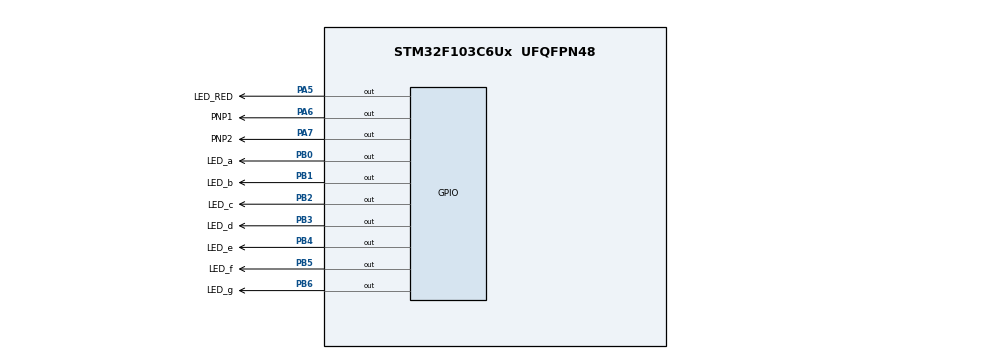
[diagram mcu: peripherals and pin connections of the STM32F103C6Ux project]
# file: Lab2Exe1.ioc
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Mcu.Family=STM32F1
Mcu.Name=STM32F103C6Ux
Mcu.Package=UFQFPN48
NVIC.PriorityGroup=NVIC_PRIORITYGROUP_4
NVIC.TIM2_IRQn=true\:0\:0\:false\:false\:true\:true\:true
PA5.GPIO_Label=LED_RED
PA5.Signal=GPIO_Output
PA6.GPIO_Label=PNP1
PA6.Signal=GPIO_Output
PA7.GPIO_Label=PNP2
PA7.Signal=GPIO_Output
PB0.GPIO_Label=LED_a
PB0.Signal=GPIO_Output
PB1.GPIO_Label=LED_b
PB1.Signal=GPIO_Output
PB2.GPIO_Label=LED_c
PB2.Signal=GPIO_Output
PB3.GPIO_Label=LED_d
PB3.Signal=GPIO_Output
PB4.GPIO_Label=LED_e
PB4.Signal=GPIO_Output
PB5.GPIO_Label=LED_f
PB5.Signal=GPIO_Output
PB6.GPIO_Label=LED_g
PB6.Signal=GPIO_Output
ProjectManager.HeapSize=0x200
ProjectManager.StackSize=0x400
ProjectManager.TargetToolchain=STM32CubeIDE
RCC.APB1Freq_Value=8000000
RCC.APB2Freq_Value=8000000
TIM2.Period=9
TIM2.Prescaler=7999
VP_SYS_VS_ND.Mode=No_Debug
VP_TIM2_VS_ClockSourceINT.Mode=Internal
board=custom

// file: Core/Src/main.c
/* USER CODE BEGIN Header */
/**
  ******************************************************************************
  * @file           : main.c
  * @brief          : Main program body
  ******************************************************************************
  * @attention
  *
  * <h2><center>&copy; Copyright (c) 2022 STMicroelectronics.
  * All rights reserved.</center></h2>
  *
  * This software component is licensed by ST under BSD 3-Clause license,
  * the "License"; You may not use this file except in compliance with the
  * License. You may obtain a copy of the License at:
  *                        opensource.org/licenses/BSD-3-Clause
  *
  ******************************************************************************
  */
/* USER CODE END Header */
#include "main.h"

TIM_HandleTypeDef htim2;

void SystemClock_Config(void);
static void MX_GPIO_Init(void);
static void MX_TIM2_Init(void);

int main(void)
{

  /* MCU Configuration--------------------------------------------------------*/

  /* Reset of all peripherals, Initializes the Flash interface and the Systick. */
  HAL_Init();

  /* Configure the system clock */
  SystemClock_Config();

  /* Initialize all configured peripherals */
  MX_GPIO_Init();
  MX_TIM2_Init();
  /* USER CODE BEGIN 2 */
  HAL_TIM_Base_Start_IT(&htim2);
  /* USER CODE END 2 */

  /* Infinite loop */
  while (1)
  {

  }
}

void SystemClock_Config(void)
{
  RCC_OscInitTypeDef RCC_OscInitStruct = {0};
  RCC_ClkInitTypeDef RCC_ClkInitStruct = {0};

  /** Initializes the RCC Oscillators according to the specified parameters
  * in the RCC_OscInitTypeDef structure.
  */
  RCC_OscInitStruct.OscillatorType = RCC_OSCILLATORTYPE_HSI;
  RCC_OscInitStruct.HSIState = RCC_HSI_ON;
  RCC_OscInitStruct.HSICalibrationValue = RCC_HSICALIBRATION_DEFAULT;
  RCC_OscInitStruct.PLL.PLLState = RCC_PLL_NONE;
  if (HAL_RCC_OscConfig(&RCC_OscInitStruct) != HAL_OK)
  {
    Error_Handler();
  }
  /** Initializes the CPU, AHB and APB buses clocks
  */
  RCC_ClkInitStruct.ClockType = RCC_CLOCKTYPE_HCLK|RCC_CLOCKTYPE_SYSCLK
                              |RCC_CLOCKTYPE_PCLK1|RCC_CLOCKTYPE_PCLK2;
  RCC_ClkInitStruct.SYSCLKSource = RCC_SYSCLKSOURCE_HSI;
  RCC_ClkInitStruct.AHBCLKDivider = RCC_SYSCLK_DIV1;
  RCC_ClkInitStruct.APB1CLKDivider = RCC_HCLK_DIV1;
  RCC_ClkInitStruct.APB2CLKDivider = RCC_HCLK_DIV1;

  if (HAL_RCC_ClockConfig(&RCC_ClkInitStruct, FLASH_LATENCY_0) != HAL_OK)
  {
    Error_Handler();
  }
}

static void MX_TIM2_Init(void)
{

  TIM_ClockConfigTypeDef sClockSourceConfig = {0};
  TIM_MasterConfigTypeDef sMasterConfig = {0};

  htim2.Instance = TIM2;
  htim2.Init.Prescaler = 7999;
  htim2.Init.CounterMode = TIM_COUNTERMODE_UP;
  htim2.Init.Period = 9;
  htim2.Init.ClockDivision = TIM_CLOCKDIVISION_DIV1;
  htim2.Init.AutoReloadPreload = TIM_AUTORELOAD_PRELOAD_DISABLE;
  if (HAL_TIM_Base_Init(&htim2) != HAL_OK)
  {
    Error_Handler();
  }
  sClockSourceConfig.ClockSource = TIM_CLOCKSOURCE_INTERNAL;
  if (HAL_TIM_ConfigClockSource(&htim2, &sClockSourceConfig) != HAL_OK)
  {
    Error_Handler();
  }
  sMasterConfig.MasterOutputTrigger = TIM_TRGO_RESET;
  sMasterConfig.MasterSlaveMode = TIM_MASTERSLAVEMODE_DISABLE;
  if (HAL_TIMEx_MasterConfigSynchronization(&htim2, &sMasterConfig) != HAL_OK)
  {
    Error_Handler();
  }

}

static void MX_GPIO_Init(void)
{
  GPIO_InitTypeDef GPIO_InitStruct = {0};

  /* GPIO Ports Clock Enable */
  __HAL_RCC_GPIOA_CLK_ENABLE();
  __HAL_RCC_GPIOB_CLK_ENABLE();

  /*Configure GPIO pin Output Level */
  HAL_GPIO_WritePin(GPIOA, LED_RED_Pin|PNP1_Pin|PNP2_Pin, GPIO_PIN_RESET);

  /*Configure GPIO pin Output Level */
  HAL_GPIO_WritePin(GPIOB, LED_a_Pin|LED_b_Pin|LED_c_Pin|LED_d_Pin
                          |LED_e_Pin|LED_f_Pin|LED_g_Pin, GPIO_PIN_RESET);

  /*Configure GPIO pins : LED_RED_Pin PNP1_Pin PNP2_Pin */
  GPIO_InitStruct.Pin = LED_RED_Pin|PNP1_Pin|PNP2_Pin;
  GPIO_InitStruct.Mode = GPIO_MODE_OUTPUT_PP;
  GPIO_InitStruct.Pull = GPIO_NOPULL;
  GPIO_InitStruct.Speed = GPIO_SPEED_FREQ_LOW;
  HAL_GPIO_Init(GPIOA, &GPIO_InitStruct);

  /*Configure GPIO pins : LED_a_Pin LED_b_Pin LED_c_Pin LED_d_Pin
                           LED_e_Pin LED_f_Pin LED_g_Pin */
  GPIO_InitStruct.Pin = LED_a_Pin|LED_b_Pin|LED_c_Pin|LED_d_Pin
                          |LED_e_Pin|LED_f_Pin|LED_g_Pin;
  GPIO_InitStruct.Mode = GPIO_MODE_OUTPUT_PP;
  GPIO_InitStruct.Pull = GPIO_NOPULL;
  GPIO_InitStruct.Speed = GPIO_SPEED_FREQ_LOW;
  HAL_GPIO_Init(GPIOB, &GPIO_InitStruct);

}

/* USER CODE BEGIN 4 */
int count = 50;
int status = 1;
void HAL_TIM_PeriodElapsedCallback(TIM_HandleTypeDef *htim) {
	if (status == 1){
		HAL_GPIO_WritePin(PNP1_GPIO_Port, PNP1_Pin, RESET);
		HAL_GPIO_WritePin(PNP2_GPIO_Port, PNP2_Pin, SET);

		HAL_GPIO_WritePin(LED_a_GPIO_Port, LED_a_Pin, SET);
		HAL_GPIO_WritePin(LED_b_GPIO_Port, LED_b_Pin, RESET);
		HAL_GPIO_WritePin(LED_c_GPIO_Port, LED_c_Pin, RESET);
		HAL_GPIO_WritePin(LED_d_GPIO_Port, LED_d_Pin, SET);
		HAL_GPIO_WritePin(LED_e_GPIO_Port, LED_e_Pin, SET);
		HAL_GPIO_WritePin(LED_f_GPIO_Port, LED_f_Pin, SET);
		HAL_GPIO_WritePin(LED_g_GPIO_Port, LED_g_Pin, SET);
		count--;

		if (count <= 0) {
			count = 50;
			HAL_GPIO_WritePin(PNP1_GPIO_Port, PNP1_Pin, SET);
			HAL_GPIO_WritePin(PNP2_GPIO_Port, PNP2_Pin, RESET);
			status = 2;
		}
	}

	if (status == 2) {
		HAL_GPIO_WritePin(LED_a_GPIO_Port, LED_a_Pin, RESET);
		HAL_GPIO_WritePin(LED_c_GPIO_Port, LED_c_Pin, SET);
		HAL_GPIO_WritePin(LED_d_GPIO_Port, LED_d_Pin, RESET);
		HAL_GPIO_WritePin(LED_e_GPIO_Port, LED_e_Pin, RESET);
		HAL_GPIO_WritePin(LED_g_GPIO_Port, LED_g_Pin, RESET);
		count--;

		if (count <= 0) {
			count = 50;
			status = 1;
		}
	}
}
/* USER CODE END 4 */

void Error_Handler(void)
{
  __disable_irq();
  while (1)
  {
  }
}

/************************ (C) COPYRIGHT STMicroelectronics *****END OF FILE****/
